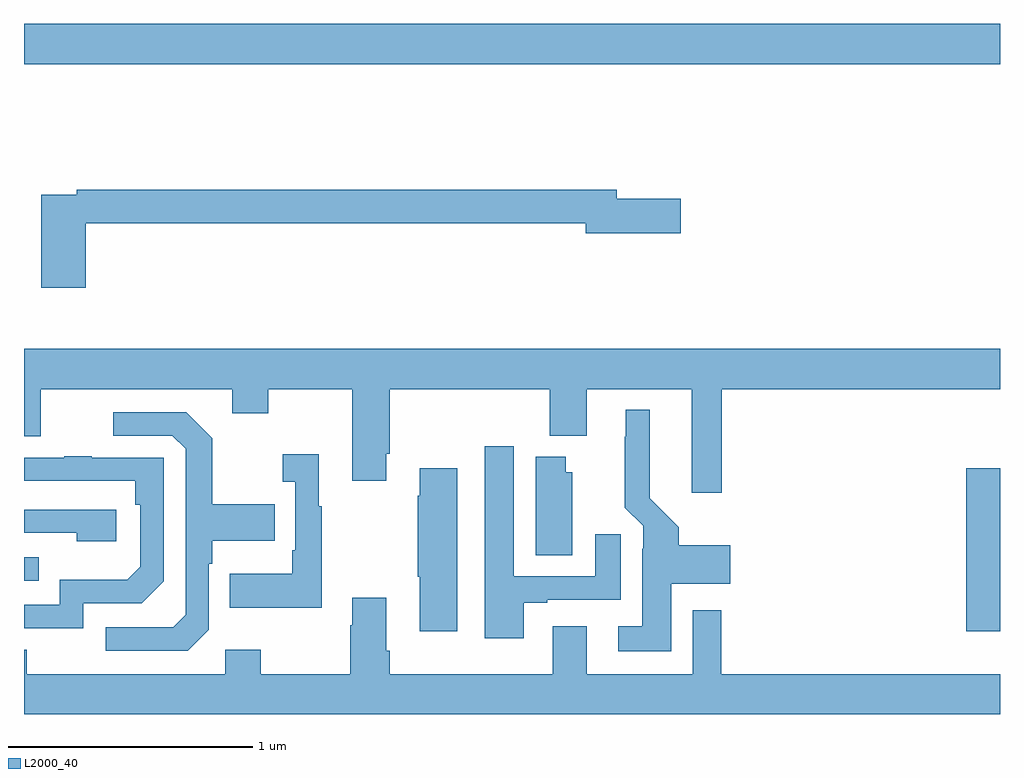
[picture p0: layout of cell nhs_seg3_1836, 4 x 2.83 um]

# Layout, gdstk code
import gdstk
lib = gdstk.Library(unit=1e-6, precision=1e-09)
def R(c, l, rs):  # rectangles x0, y0, x1, y1
    for r in rs: c.add(gdstk.rectangle(r[:2], r[2:], *l))
def P(c, l, *ps):  # polygons
    for p in ps: c.add(gdstk.Polygon(p, *l))
L2000_40 = (2000, 40)

nhs_seg3_1836 = lib.new_cell('nhs_seg3_1836')
R(nhs_seg3_1836, L2000_40, [(208.862,731.892,209,732.559), (205,732.099,205.061,732.195), (205,734.216,209,734.38)])
P(nhs_seg3_1836, L2000_40, [(205.253,733.564),(207.302,733.564),(207.302,733.522),(207.691,733.522),(207.691,733.664),(207.43,733.664),(207.43,733.7),(205.216,733.7),(205.216,733.68),(205.07,733.68),(205.07,733.299),(205.253,733.299)],
  [(205,732.69),(205.069,732.69),(205.069,732.884),(205.853,732.884),(205.853,732.785),(206.001,732.785),(206.001,732.884),(206.345,732.884),(206.345,732.507),(206.485,732.507),(206.485,732.619),(206.498,732.619),(206.498,732.884),(207.155,732.884),(207.155,732.692),(207.307,732.692),(207.307,732.884),(207.737,732.884),(207.737,732.459),(207.86,732.459),(207.86,732.884),(209,732.884),(209,733.048),(205,733.048)],
  [(207.652,732.086),(207.895,732.086),(207.895,732.244),(207.683,732.244),(207.683,732.318),(207.565,732.436),(207.565,732.799),(207.467,732.799),(207.467,732.689),(207.463,732.689),(207.463,732.398),(207.537,732.324),(207.537,732.23),(207.533,732.23),(207.533,731.911),(207.435,731.911),(207.435,731.81),(207.652,731.81)],
  [(205.758,731.898),(205.758,732.167),(205.771,732.167),(205.771,732.263),(206.027,732.263),(206.027,732.411),(205.771,732.411),(205.771,732.683),(205.665,732.789),(205.365,732.789),(205.365,732.693),(205.608,732.693),(205.662,732.639),(205.662,731.958),(205.611,731.907),(205.335,731.907),(205.335,731.811),(205.671,731.811)],
  [(207.049,732.009),(207.145,732.009),(207.145,732.021),(207.445,732.021),(207.445,732.289),(207.341,732.289),(207.341,732.117),(207.007,732.117),(207.007,732.649),(206.888,732.649),(206.888,731.862),(207.049,731.862)],
  [(206.221,732.403),(206.209,732.403),(206.209,732.616),(206.061,732.616),(206.061,732.503),(206.112,732.503),(206.112,732.223),(206.1,732.223),(206.1,732.127),(205.843,732.127),(205.843,731.987),(206.221,731.987)],
  [(205.242,732.006),(205.482,732.006),(205.572,732.096),(205.572,732.603),(205.277,732.603),(205.277,732.608),(205.165,732.608),(205.165,732.603),(205,732.603),(205,732.507),(205.456,732.507),(205.456,732.41),(205.476,732.41),(205.476,732.156),(205.423,732.103),(205.146,732.103),(205.146,732),(205,732),(205,731.904),(205.242,731.904)],
  [(207.247,732.543),(207.22,732.543),(207.22,732.607),(207.098,732.607),(207.098,732.202),(207.247,732.202)],
  [(206.776,732.559),(206.621,732.559),(206.621,732.446),(206.614,732.446),(206.614,732.115),(206.621,732.115),(206.621,731.892),(206.776,731.892)],
  [(205.378,732.39),(205,732.39),(205,732.294),(205.217,732.294),(205.217,732.26),(205.378,732.26)],
  [(207.167,731.911),(207.167,731.716),(206.498,731.716),(206.498,731.812),(206.485,731.812),(206.485,732.028),(206.345,732.028),(206.345,731.915),(206.338,731.915),(206.338,731.716),(205.971,731.716),(205.971,731.815),(205.824,731.815),(205.824,731.716),(205.011,731.716),(205.011,731.815),(205,731.815),(205,731.552),(209,731.552),(209,731.716),(207.857,731.716),(207.857,731.977),(207.741,731.977),(207.741,731.716),(207.307,731.716),(207.307,731.911)])

lib.write_gds('nhs_seg3_1836.gds')
